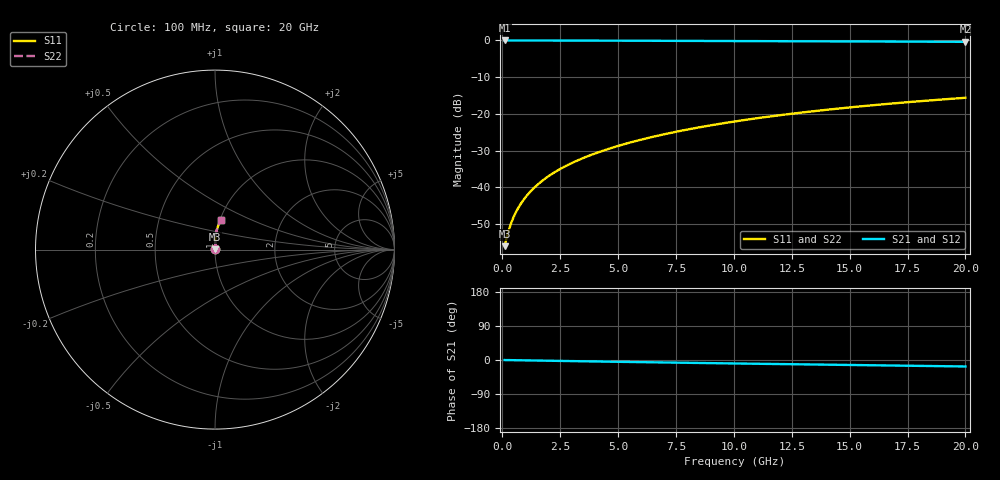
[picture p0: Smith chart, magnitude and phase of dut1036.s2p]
! Touchstone file exported from HFSS 2024.1.0
!  File:  C:/UserFiles/LocalFiles/RDL_TSV_Batchsim/temp_RDL_bottom_1036_1780051384.aedt
!  Generated:  06:45:14 PM May 29, 2026
!  Design:  RDL_bottom
!  Project:  temp_RDL_bottom_1036_1780051384
!  Setup:  Setup1
!  Solution:  Sweep
! Variables:
!  dtsv = 10.80580581um
!  hbump = 3um
!  htsv = 69.04um
!  ldown = 237.93um
!  lrdl = 100um
!  p = 40
!  p1 = 41.57um
!  rhole = 1um
!  t = 450um
!  tdown = 3.36um
!  trdl = 3.915915916um
!  wdown = 22.21um
!  wrdl = 20um
# GHz S MA R 50.000000
! Terminal data exported
! Port[1] = RDL1_T1
! Port[2] = RDL1_T2
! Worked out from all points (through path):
!   200 points, 100 MHz to 20 GHz, reference 50 ohm
!   highest |S21| = -0.01 dB at 100 MHz (marker M1); lowest = -0.4 dB at 20 GHz (marker M2)
!   group delay of S21, straight-line fit = 2.35 ps
!   lowest |S11| = -56.0 dB at 100 MHz (marker M3), VSWR 1.00, Z = 50.1 + j0.0803 ohm
!   |S11| at or under -10 dB: start of sweep to end of sweep
!   |S22| runs from -56.0 to -15.6 dB; largest |S21 - S12| = 3e-15
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0.1  0.001581 30.4  0.9986 -0.1  0.9986 -0.1  0.001581 30.4
! Gamma 0 0 0 0
! Port Impedance 50 0 50 0
0.2  0.002119 47.7  0.9986 -0.2  0.9986 -0.2  0.002119 47.7
0.3  0.002739 57.0  0.9985 -0.3  0.9985 -0.3  0.002739 57.0
0.4  0.003375 62.7  0.9984 -0.4  0.9984 -0.4  0.003375 62.7
0.5  0.004017 66.7  0.9983 -0.5  0.9983 -0.5  0.004017 66.7
0.6  0.004663 69.8  0.9982 -0.6  0.9982 -0.6  0.004663 69.8
0.8  0.005973 74.1  0.9981 -0.8  0.9981 -0.8  0.005973 74.1
1  0.007306 77.1  0.998 -1.0  0.998 -1.0  0.007306 77.1
1.2  0.008659 79.2  0.9978 -1.2  0.9978 -1.2  0.008659 79.2
1.4  0.01003 80.9  0.9977 -1.4  0.9977 -1.4  0.01003 80.9
1.7  0.01211 82.7  0.9974 -1.7  0.9974 -1.7  0.01211 82.7
2.2  0.01563 84.8  0.9968 -2.2  0.9968 -2.2  0.01563 84.8
2.8  0.01994 86.4  0.996 -2.7  0.996 -2.7  0.01994 86.4
3.5  0.0251 87.6  0.9948 -3.4  0.9948 -3.4  0.0251 87.6
4.2  0.03039 88.4  0.9935 -4.1  0.9935 -4.1  0.03039 88.4
5  0.03661 88.9  0.9918 -4.8  0.9918 -4.8  0.0366 88.9
6.8  0.05118 89.1  0.9877 -6.4  0.9877 -6.4  0.05117 89.1
8.4  0.06467 88.6  0.9837 -7.8  0.9837 -7.8  0.06467 88.6
10.1  0.07938 87.6  0.9796 -9.2  0.9796 -9.2  0.07937 87.6
13.4  0.1084 85.0  0.9718 -11.9  0.9718 -11.9  0.1084 85.0
16.7  0.1373 82.0  0.9643 -14.5  0.9643 -14.5  0.1373 82.0
20  0.1656 78.9  0.9569 -17.1  0.9569 -17.1  0.1656 78.9
